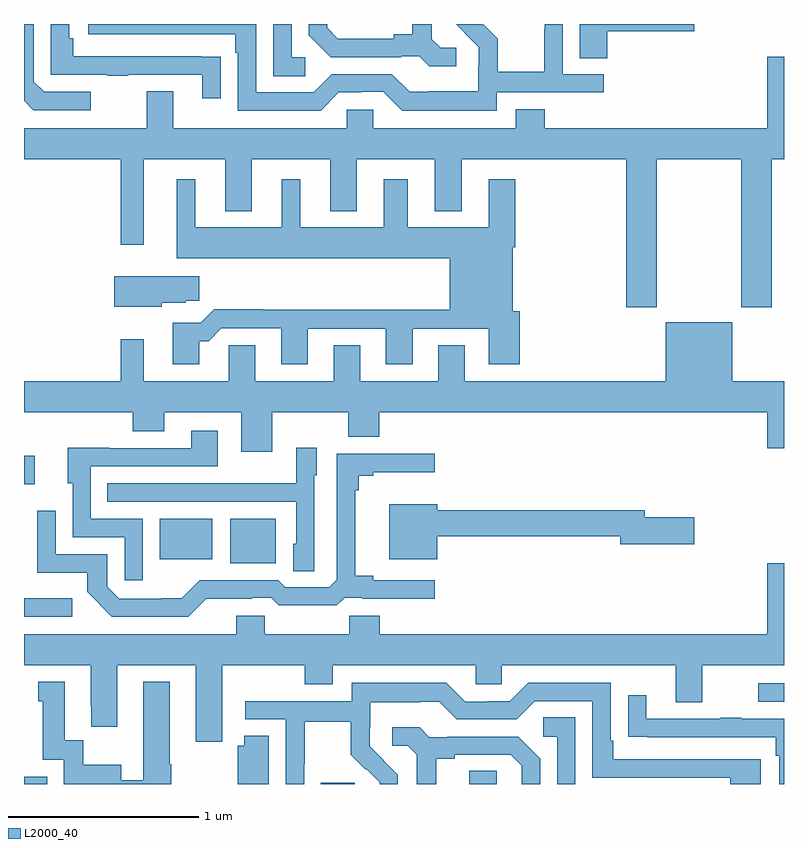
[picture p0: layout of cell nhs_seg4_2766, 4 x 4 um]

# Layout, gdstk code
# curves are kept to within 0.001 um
import gdstk
lib = gdstk.Library(unit=1e-6, precision=1e-09)
def R(c, l, rs):  # rectangles x0, y0, x1, y1
    for r in rs: c.add(gdstk.rectangle(r[:2], r[2:], *l))
def P(c, l, *ps):  # polygons
    for p in ps: c.add(gdstk.Polygon(p, *l))
L2000_40 = (2000, 40)

nhs_seg4_2766 = lib.new_cell('nhs_seg4_2766')
R(nhs_seg4_2766, L2000_40, [(257,758.9,257.122,758.937), (258.563,758.9,258.742,758.907), (259.343,758.9,259.488,758.969), (260.865,759.333,261,759.429), (257,759.78,257.254,759.877), (258.086,760.061,258.325,760.297), (257.714,760.082,257.992,760.297), (257,760.478,257.056,760.627)])
P(nhs_seg4_2766, L2000_40, [(259.488,762.54),(260.05,762.54),(260.05,762.636),(259.836,762.636),(259.836,762.9),(259.74,762.9),(259.74,762.872),(259.738,762.872),(259.738,762.649),(259.493,762.649),(259.493,762.823),(259.416,762.9),(259.413,762.897),(259.41,762.9),(259.274,762.9),(259.394,762.778),(259.394,762.681),(259.392,762.681),(259.392,762.547),(259.129,762.547),(259.129,762.543),(259.029,762.543),(258.936,762.636),(258.621,762.636),(258.525,762.54),(258.222,762.54),(258.222,762.9),(257.337,762.9),(257.337,762.846),(258.113,762.846),(258.113,762.749),(258.126,762.749),(258.126,762.444),(258.561,762.444),(258.657,762.54),(258.776,762.54),(258.776,762.543),(258.891,762.543),(258.991,762.443),(259.488,762.443)],
  [(257.35,762.543),(257.106,762.543),(257.052,762.597),(257.052,762.9),(257,762.9),(257,762.496),(257.049,762.447),(257.35,762.447)],
  [(260.069,762.863),(260.527,762.863),(260.527,762.9),(259.925,762.9),(259.925,762.721),(260.069,762.721)],
  [(258.035,762.728),(257.933,762.728),(257.933,762.729),(257.258,762.729),(257.258,762.826),(257.238,762.826),(257.238,762.9),(257.142,762.9),(257.142,762.633),(257.437,762.633),(257.437,762.628),(257.549,762.628),(257.549,762.633),(257.939,762.633),(257.939,762.51),(258.035,762.51)],
  [(259.276,762.774),(259.194,762.774),(259.147,762.821),(259.147,762.9),(259.043,762.9),(259.043,762.845),(258.947,762.845),(258.947,762.822),(258.652,762.822),(258.595,762.879),(258.595,762.9),(258.498,762.9),(258.498,762.842),(258.614,762.726),(258.986,762.726),(258.986,762.729),(259.08,762.729),(259.132,762.677),(259.276,762.677)],
  [(258.481,762.726),(258.408,762.726),(258.408,762.9),(258.312,762.9),(258.312,762.625),(258.481,762.625)],
  [(257.785,762.547),(257.645,762.547),(257.645,762.352),(257,762.352),(257,762.188),(257.508,762.188),(257.508,761.739),(257.629,761.739),(257.629,762.188),(258.059,762.188),(258.059,761.915),(258.199,761.915),(258.199,762.188),(258.611,762.188),(258.611,761.915),(258.751,761.915),(258.751,762.188),(259.163,762.188),(259.163,761.915),(259.303,761.915),(259.303,762.188),(260.171,762.188),(260.171,761.409),(260.331,761.409),(260.331,762.188),(260.776,762.188),(260.776,761.409),(260.936,761.409),(260.936,762.188),(261,762.188),(261,762.727),(260.912,762.727),(260.912,762.352),(259.742,762.352),(259.742,762.451),(259.589,762.451),(259.589,762.352),(258.837,762.352),(258.837,762.45),(258.699,762.45),(258.699,762.352),(257.785,762.352)],
  [(257.923,761.231),(257.972,761.231),(258.039,761.298),(258.353,761.298),(258.353,761.109),(258.493,761.109),(258.493,761.295),(258.905,761.295),(258.905,761.109),(259.045,761.109),(259.045,761.295),(259.445,761.295),(259.445,761.109),(259.61,761.109),(259.61,761.388),(259.573,761.388),(259.573,761.726),(259.586,761.726),(259.586,762.082),(259.445,762.082),(259.445,761.83),(259.021,761.83),(259.021,762.082),(258.893,762.082),(258.893,761.83),(258.454,761.83),(258.454,762.082),(258.356,762.082),(258.356,761.83),(257.902,761.83),(257.902,762.082),(257.804,762.082),(257.804,761.666),(259.241,761.666),(259.241,761.396),(258.257,761.396),(258.257,761.399),(258.002,761.399),(257.931,761.328),(257.783,761.328),(257.783,761.109),(257.923,761.109)],
  [(257.724,761.432),(257.85,761.432),(257.85,761.443),(257.923,761.443),(257.923,761.572),(257.474,761.572),(257.474,761.411),(257.724,761.411)],
  [(258.307,760.856),(258.707,760.856),(258.707,760.728),(258.871,760.728),(258.871,760.856),(260.912,760.856),(260.912,760.668),(261,760.668),(261,761.02),(260.728,761.02),(260.728,761.329),(260.378,761.329),(260.378,761.02),(259.321,761.02),(259.321,761.21),(259.181,761.21),(259.181,761.02),(258.769,761.02),(258.769,761.21),(258.629,761.21),(258.629,761.02),(258.217,761.02),(258.217,761.21),(258.078,761.21),(258.078,761.02),(257.629,761.02),(257.629,761.242),(257.508,761.242),(257.508,761.02),(257,761.02),(257,760.856),(257.573,760.856),(257.573,760.757),(257.737,760.757),(257.737,760.856),(258.143,760.856),(258.143,760.65),(258.307,760.65)],
  [(257.625,760.296),(257.352,760.296),(257.352,760.572),(258.019,760.572),(258.019,760.759),(257.879,760.759),(257.879,760.668),(257.449,760.668),(257.449,760.67),(257.231,760.67),(257.231,760.482),(257.256,760.482),(257.256,760.2),(257.529,760.2),(257.529,759.972),(257.625,759.972)],
  [(258.528,760.524),(258.541,760.524),(258.541,760.669),(258.432,760.669),(258.432,760.483),(258.115,760.483),(258.115,760.482),(257.437,760.482),(257.437,760.386),(258.432,760.386),(258.432,760.164),(258.416,760.164),(258.416,760.021),(258.528,760.021)],
  [(257.96,759.875),(258.2,759.875),(258.2,759.879),(258.3,759.879),(258.34,759.84),(258.647,759.84),(258.687,759.879),(258.781,759.879),(258.781,759.875),(259.162,759.875),(259.162,759.972),(258.838,759.972),(258.838,759.995),(258.743,759.995),(258.743,760.445),(258.761,760.445),(258.761,760.522),(258.838,760.522),(258.838,760.541),(259.162,760.541),(259.162,760.638),(258.645,760.638),(258.645,759.975),(258.606,759.936),(258.375,759.936),(258.339,759.972),(257.925,759.972),(257.831,759.878),(257.726,759.878),(257.726,759.876),(257.502,759.876),(257.439,759.939),(257.439,760.11),(257.166,760.11),(257.166,760.339),(257.07,760.339),(257.07,760.013),(257.332,760.013),(257.332,759.911),(257.462,759.78),(257.865,759.78)],
  [(259.174,760.204),(260.138,760.204),(260.138,760.162),(260.527,760.162),(260.527,760.304),(260.266,760.304),(260.266,760.34),(259.174,760.34),(259.174,760.372),(258.923,760.372),(258.923,760.082),(259.174,760.082)],
  [(258.043,759.524),(258.478,759.524),(258.478,759.425),(258.625,759.425),(258.625,759.524),(259.377,759.524),(259.377,759.426),(259.515,759.426),(259.515,759.524),(260.429,759.524),(260.429,759.33),(260.569,759.33),(260.569,759.524),(261,759.524),(261,760.063),(260.912,760.063),(260.912,759.688),(258.872,759.688),(258.872,759.786),(258.712,759.786),(258.712,759.688),(258.267,759.688),(258.267,759.786),(258.116,759.786),(258.116,759.688),(257,759.688),(257,759.524),(257.351,759.524),(257.351,759.313),(257.354,759.313),(257.354,759.201),(257.491,759.201),(257.491,759.524),(257.903,759.524),(257.903,759.123),(258.043,759.123)],
  [(257.775,759.004),(257.767,759.004),(257.767,759.439),(257.627,759.439),(257.627,758.921),(257.512,758.921),(257.512,759.001),(257.313,759.001),(257.313,759.131),(257.215,759.131),(257.215,759.439),(257.075,759.439),(257.075,759.336),(257.099,759.336),(257.099,759.027),(257.208,759.027),(257.208,758.9),(257.775,758.9)],
  [(258.474,759.004),(258.477,759.004),(258.477,759.228),(258.721,759.228),(258.721,759.053),(258.798,758.976),(258.801,758.979),(258.872,758.909),(258.872,758.9),(258.966,758.9),(258.966,758.95),(258.82,759.098),(258.82,759.195),(258.822,759.195),(258.822,759.329),(259.085,759.329),(259.085,759.333),(259.185,759.333),(259.278,759.24),(259.593,759.24),(259.689,759.336),(259.992,759.336),(259.992,758.934),(260.717,758.934),(260.717,758.9),(260.878,758.9),(260.878,759.03),(260.101,759.03),(260.101,759.127),(260.088,759.127),(260.088,759.432),(259.653,759.432),(259.557,759.336),(259.439,759.336),(259.439,759.333),(259.323,759.333),(259.223,759.433),(258.726,759.433),(258.726,759.336),(258.165,759.336),(258.165,759.24),(258.378,759.24),(258.378,758.9),(258.474,758.9)],
  [(261,759.243),(260.777,759.243),(260.777,759.248),(260.665,759.248),(260.665,759.243),(260.275,759.243),(260.275,759.367),(260.179,759.367),(260.179,759.148),(260.281,759.148),(260.281,759.147),(260.956,759.147),(260.956,759.05),(260.976,759.05),(260.976,758.9),(261,758.9)],
  [(259.902,759.251),(259.734,759.251),(259.734,759.15),(259.806,759.15),(259.806,758.9),(259.902,758.9)],
  [(259.171,759.032),(259.267,759.032),(259.267,759.054),(259.562,759.054),(259.619,758.997),(259.619,758.9),(259.716,758.9),(259.716,759.034),(259.6,759.15),(259.228,759.15),(259.228,759.147),(259.134,759.147),(259.082,759.199),(258.939,759.199),(258.939,759.102),(259.02,759.102),(259.067,759.055),(259.067,758.9),(259.171,758.9)],
  [(258.289,759.155),(258.158,759.155),(258.158,759.102),(258.124,759.102),(258.124,758.9),(258.289,758.9)])

lib.write_gds('nhs_seg4_2766.gds')
